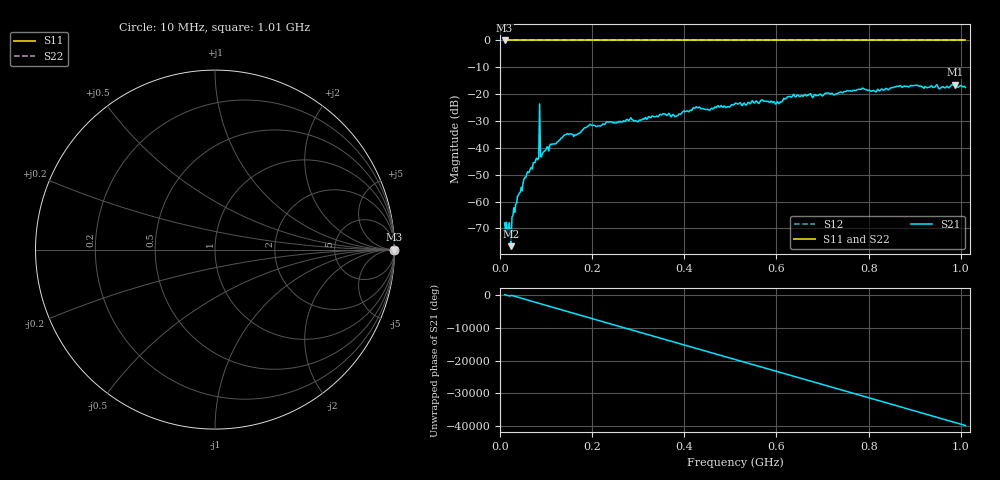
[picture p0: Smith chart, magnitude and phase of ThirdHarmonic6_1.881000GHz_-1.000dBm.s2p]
! 8/16/2025 10:43:39 PM
! C:\ANRITSUVNA\TEMP\TEMP.S2P
! CHANNEL.1
! TR.MEASUREMENT
! RAW.DATA
! RF.CORRECTION.OFF
! AVERAGING.OFF
! IF.BANDWIDTH: 5KHZ
! SWEEPTYPE:  FREQ.SWEEP(Linear)
! Reference Plane Port Info
! PORT:  PORT1  PORT2
! DISTANCE:  0  m  0  m
! TIME:  0  s  0  s
! PHASE.OFFSET:  0  deg.  0  deg.
! LOSS:  0  dB  0  dB
! REF.LOSS:  0  dB  0  dB
! REF.FREQ:  0  Hz  0  Hz
! Power Info
! POWER:  -20  dBm  -20  dBm
! EFF.POWER:  -20  dBm  -20  dBm
! SOURCE.ATTEN:  0  dB  0  dB
! TEST.ATTEN:  0  dB  0  dB
# GHZ S RI R 50.0
! FREQ.GHZ  S11RE  S11IM  S21RE  S21IM  S12RE  S12IM  S22RE  S22IM
!; PortSelection: Port_12
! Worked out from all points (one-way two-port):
!   501 points, 10 MHz to 1.01 GHz, reference 50 ohm
!   highest |S21| = -16.45 dB at 988 MHz (marker M1); lowest = -76.6 dB at 24 MHz (marker M2)
!   lowest |S11| = 0.0 dB at 10 MHz (marker M3)
!   |S11| at or under -10 dB: nowhere
!   |S22| runs from 0.0 to 0.0 dB; largest |S21 - S12| = 1.2
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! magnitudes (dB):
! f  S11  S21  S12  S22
! 10 MHz  0.0  -67.9  0.0  0.0
! 20 MHz  0.0  -67.8  0.0  0.0
! 24 MHz  0.0  -76.6  0.0  0.0
! 28 MHz  0.0  -65.3  0.0  0.0
! 30 MHz  0.0  -62.3  0.0  0.0
! 42 MHz  0.0  -56.8  0.0  0.0
! 56 MHz  0.0  -51.1  0.0  0.0
! 80 MHz  0.0  -43.8  0.0  0.0
! 82 MHz  0.0  -44.4  0.0  0.0
! 90 MHz  0.0  -43.3  0.0  0.0
! 92 MHz  0.0  -42.2  0.0  0.0
! 142 MHz  0.0  -35.1  0.0  0.0
! 178 MHz  0.0  -33.4  0.0  0.0
! 194 MHz  0.0  -31.5  0.0  0.0
! 344 MHz  0.0  -28.3  0.0  0.0
! 510 MHz  0.0  -23.4  0.0  0.0
! 602 MHz  0.0  -22.8  0.0  0.0
! 634 MHz  0.0  -20.9  0.0  0.0
! 678 MHz  0.0  -21.3  0.0  0.0
! 844 MHz  0.0  -18.3  0.0  0.0
! 988 MHz  0.0  -16.4  0.0  0.0
! 1.01 GHz  0.0  -17.5  0.0  0.0
